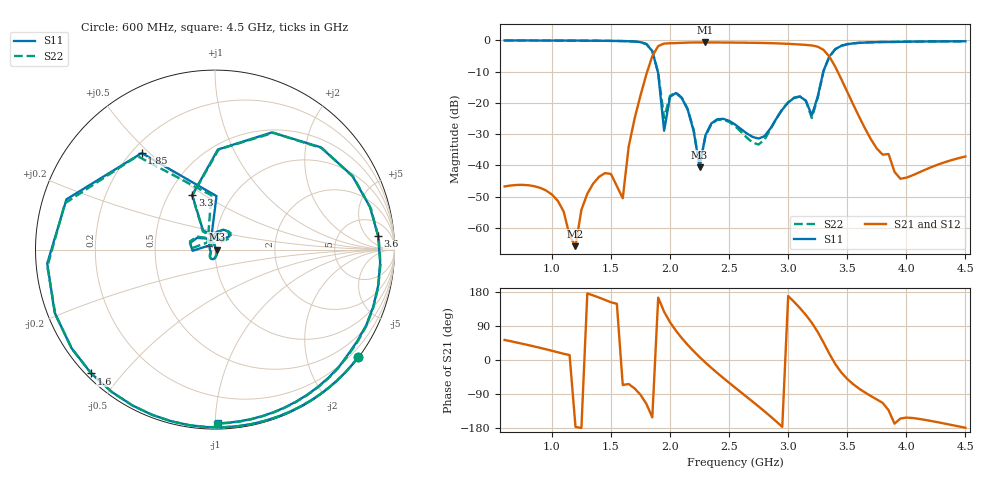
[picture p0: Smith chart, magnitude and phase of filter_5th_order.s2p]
! 2-port S-parameter data
! S-port 1 net1
! S-port 2 net2
# GHz S DB R 50
!freq dBS11 angS11 dBS21 angS21 dBS12 angS12 dBS22 angS22
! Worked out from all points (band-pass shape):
!   79 points, 600 MHz to 4.5 GHz, reference 50 ohm
!   highest |S21| = -0.65 dB at 2.3 GHz (marker M1); lowest = -65.8 dB at 1.2 GHz (marker M2)
!   |S21| within 3 dB of the highest: 1.871 GHz to 3.314 GHz (1.442 GHz wide, 55.6 % of centre)
!   lowest |S11| = -40.5 dB at 2.25 GHz (marker M3), VSWR 1.02, Z = 50.9 + j0.0353 ohm
!   |S11| at or under -10 dB: 1.896 GHz to 3.298 GHz (1.402 GHz wide, 54 % of centre)
!   |S22| runs from -40.3 to 0.0 dB; largest |S21 - S12| = 1.5e-14
!   S11 on the Smith chart (normalised r, x): 600 MHz: 0.01, -3.00; 1.6 GHz: 0.01, -0.41; 1.85 GHz: 0.24, +0.47; 3.3 GHz: 0.65, +0.45; 3.6 GHz: 12, +11; 4.5 GHz: 0.03, -1.02
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0.6  -0.02 -36.8  -46.70 52.9  -46.70 52.9  -0.02 -36.8
1  -0.04 -65.4  -49.28 24.4  -49.28 24.4  -0.04 -65.3
1.2  -0.07 -82.8  -65.81 -176.7  -65.81 -176.7  -0.07 -82.6
1.25  -0.08 -87.7  -54.18 -179.4  -54.18 -179.4  -0.08 -87.5
1.45  -0.13 -110.8  -42.44 158.5  -42.44 158.5  -0.13 -110.6
1.6  -0.21 -135.0  -50.49 -66.0  -50.49 -66.0  -0.21 -134.5
1.75  -0.56 -175.3  -17.61 -91.6  -17.61 -91.6  -0.55 -174.2
1.85  -3.41 127.2  -5.03 -151.4  -5.03 -151.4  -3.38 129.7
1.9  -10.51 88.4  -1.81 164.6  -1.81 164.6  -10.36 93.8
1.95  -28.87 136.0  -1.02 127.4  -1.02 127.4  -24.81 135.6
2.05  -16.82 165.3  -0.85 77.3  -0.85 77.3  -16.66 161.5
2.25  -40.54 2.1  -0.65 7.8  -0.65 7.8  -40.27 7.2
2.3  -30.31 -70.8  -0.65 -6.9  -0.65 -6.9  -30.58 -71.9
2.55  -26.89 -127.3  -0.70 -72.6  -0.70 -72.6  -27.41 -133.4
2.75  -31.40 -162.1  -0.80 -122.7  -0.80 -122.7  -33.29 -178.9
2.95  -22.14 99.1  -1.01 -176.4  -1.01 -176.4  -22.01 90.4
3.2  -23.97 58.8  -1.61 98.3  -1.61 98.3  -24.82 51.5
3.3  -9.66 112.6  -3.05 45.7  -3.05 45.7  -9.70 112.8
3.4  -2.78 64.1  -8.52 -11.3  -8.52 -11.3  -2.76 63.4
3.6  -0.80 4.7  -24.36 -75.4  -24.36 -75.4  -0.78 4.0
3.85  -0.51 -32.8  -36.34 -132.6  -36.34 -132.6  -0.48 -33.4
4.5  -0.28 -88.9  -37.12 -178.8  -37.12 -178.8  -0.27 -89.4
